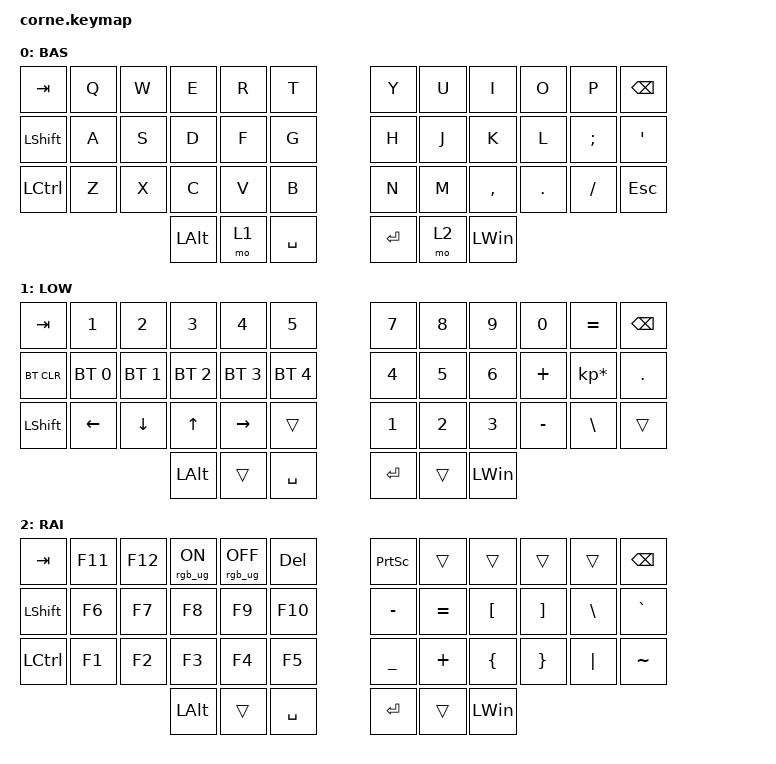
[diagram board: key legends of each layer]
/*
 * Copyright (c) 2020 The ZMK Contributors
 *
 * SPDX-License-Identifier: MIT
 */

#include <dt-bindings/led/led.h>
#include <dt-bindings/zmk/reset.h>
#include <behaviors.dtsi>
#include <dt-bindings/zmk/bt.h>
#include <dt-bindings/zmk/keys.h>
#include <dt-bindings/zmk/rgb.h>

&led_strip { chain-length = <27>; };

/ {
    keymap {
        compatible = "zmk,keymap";

        default_layer {
            display-name = "BAS";

            // -----------------------------------------------------------------------------------------
            // |  TAB |  Q  |  W  |  E  |  R  |  T  |   |  Y  |  U   |  I  |  O  |  P  | BKSP |
            // | CTRL |  A  |  S  |  D  |  F  |  G  |   |  H  |  J   |  K  |  L  |  ;  |  '   |
            // | SHFT |  Z  |  X  |  C  |  V  |  B  |   |  N  |  M   |  ,  |  .  |  /  | ESC  |
            //                    | GUI | LWR | SPC |   | ENT | RSE  | ALT |

            bindings = <
&kp TAB     &kp Q  &kp W  &kp E         &kp R  &kp T        &kp Y      &kp U  &kp I         &kp O    &kp P     &kp BSPC
&kp LSHIFT  &kp A  &kp S  &kp D         &kp F  &kp G        &kp H      &kp J  &kp K         &kp L    &kp SEMI  &kp SQT
&kp LCTRL   &kp Z  &kp X  &kp C         &kp V  &kp B        &kp N      &kp M  &kp COMMA     &kp DOT  &kp FSLH  &kp ESC
                          &kp LEFT_ALT  &mo 1  &kp SPACE    &kp ENTER  &mo 2  &kp LEFT_WIN
            >;
        };

        lower_layer {
            display-name = "LOW";

            // -----------------------------------------------------------------------------------------
            // |  TAB |  1  |  2  |  3  |  4  |  5  |   |  6  |  7  |  8  |  9  |  0  | BKSP |
            // | BTCLR| BT1 | BT2 | BT3 | BT4 | BT5 |   | LFT | DWN |  UP | RGT |     |      |
            // | SHFT |     |     |     |     |     |   |     |     |     |     |     |      |
            //                    | GUI |     | SPC |   | ENT |     | ALT |

            bindings = <
&kp TAB     &kp NUMBER_1  &kp NUMBER_2  &kp NUMBER_3  &kp NUMBER_4  &kp N5          &kp N7        &kp N8        &kp N9        &kp N0     &kp EQUAL        &kp BSPC
&bt BT_CLR  &bt BT_SEL 0  &bt BT_SEL 1  &bt BT_SEL 2  &bt BT_SEL 3  &bt BT_SEL 4    &kp NUMBER_4  &kp N5        &kp NUMBER_6  &kp PLUS   &kp KP_MULTIPLY  &kp DOT
&kp LSHFT   &kp LEFT      &kp DOWN      &kp UP_ARROW  &kp RIGHT     &trans          &kp NUMBER_1  &kp NUMBER_2  &kp NUMBER_3  &kp MINUS  &kp BSLH         &trans
                                        &kp LALT      &trans        &kp SPACE       &kp ENTER     &trans        &kp LEFT_WIN
            >;
        };

        raise_layer {
            display-name = "RAI";

            // -----------------------------------------------------------------------------------------
            // |  TAB |  !  |  @  |  #  |  $  |  %  |   |  ^  |  &  |  *  |  (  |  )  | BKSP |
            // | CTRL |     |     |     |     |     |   |  -  |  =  |  [  |  ]  |  \  |  `   |
            // | SHFT |     |     |     |     |     |   |  _  |  +  |  {  |  }  | "|" |  ~   |
            //                    | GUI |     | SPC |   | ENT |     | ALT |

            bindings = <
&kp TAB    &kp F11  &kp F12  &rgb_ug RGB_ON  &rgb_ug RGB_OFF  &kp DEL      &kp PRINTSCREEN  &trans     &trans        &trans    &trans    &kp BSPC
&kp LSHFT  &kp F6   &kp F7   &kp F8          &kp F9           &kp F10      &kp MINUS        &kp EQUAL  &kp LBKT      &kp RBKT  &kp BSLH  &kp GRAVE
&kp LCTRL  &kp F1   &kp F2   &kp F3          &kp F4           &kp F5       &kp UNDER        &kp PLUS   &kp LBRC      &kp RBRC  &kp PIPE  &kp TILDE
                             &kp LALT        &trans           &kp SPACE    &kp ENTER        &trans     &kp LEFT_WIN
            >;
        };

        extra_1 { status = "reserved"; };

        extra_2 { status = "reserved"; };

        extra_3 { status = "reserved"; };
    };
};
